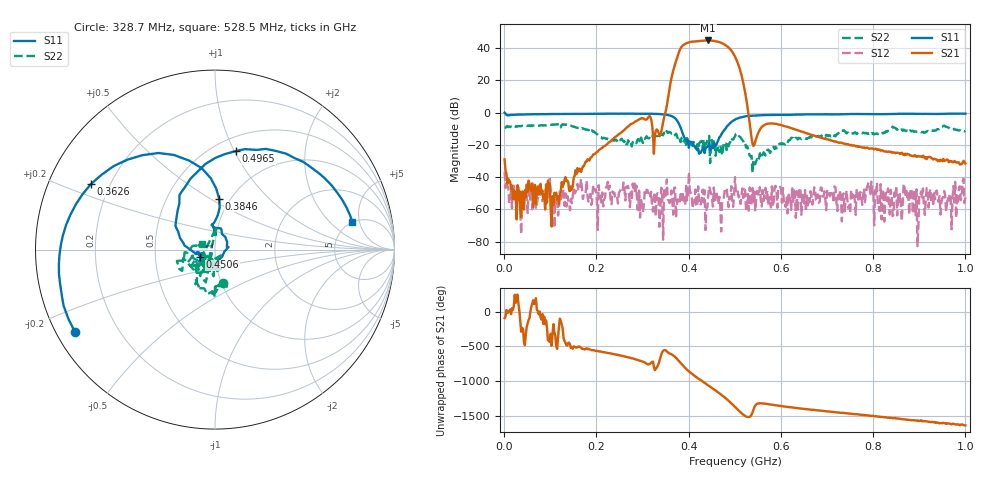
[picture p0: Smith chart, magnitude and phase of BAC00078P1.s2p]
!measured: 2026-10-27T14:58:42
!cal_instance: BBtestOct27
!cal_created: 2026-10-27T14:45
!cal_file: BBtesting.cal
!port1_delay_ps: -58.63
!port2_delay_ps: -59.31
!host: dhcp-10-250-247-203.harvard.edu
! Created with skrf 2.1.0 (http://scikit-rf.org).
# Hz S RI R 50.0
!freq ReS11 ImS11 ReS21 ImS21 ReS12 ImS12 ReS22 ImS22
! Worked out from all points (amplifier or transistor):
!   501 points, 1 MHz to 1 GHz, reference 50 ohm
!   highest |S21| = 44.7 dB at 442.6 MHz (marker M1)
!   |S21| within 3 dB of that: 387.9 MHz to 480.6 MHz (92.76 MHz wide, 21.4 % of centre)
!   unconditionally stable (mu >= 1): start of sweep to 399.9 MHz; 444.9 MHz to 500.2 MHz; 500.8 MHz to end of sweep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
!   at 166.8 MHz: K = 642.40, MAG = -28.9 dB, |S12| = -41.2 dB
!   at 500.5 MHz: K = 0.95, MSG = 37.3 dB, |S12| = -40.0 dB
!   at 1 GHz: K = 1125.55, MAG = -23.0 dB, |S12| = -52.6 dB
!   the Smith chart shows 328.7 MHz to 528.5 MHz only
!   S11 on the Smith chart (normalised r, x): 328.7 MHz: 0.05, -0.27; 362.6 MHz: 0.13, +0.24; 384.6 MHz: 0.89, +0.55; 450.6 MHz: 0.84, -0.07; 496.5 MHz: 0.63, +1.01; 528.5 MHz: 4.92, +3.90
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1000000  -0.3976 0.9103  -0.00115 -0.0352  0.0119 -0.00811  0.3362 -0.0279
1.68832e8  0.5059 -0.7527  -0.0174 -0.00155  0.00262 0.00352  -0.0186 -0.3248
3.28672e8  -0.7822 -0.4577  -0.0745 -0.2569  0.000583 0.000156  0.0424 -0.1838
3.34666e8  -0.8287 -0.353  0.2015 -0.1262  -0.00213 -0.00208  0.0651 -0.2069
3.62638e8  -0.691 0.3653  -3.279 11.1  -0.00373 -0.000887  -0.0608 -0.2157
3.74626e8  -0.2294 0.5275  36.8 31.53  -0.000689 0.00145  -0.1003 -0.1622
3.84616e8  0.0232 0.2843  90.66 -60.98  -0.00194 -2.95e-05  -0.1338 -0.0945
3.96604e8  -0.0177 0.1395  -62.87 -128.8  0.00173 -0.000772  -0.1115 -0.1183
4.04596e8  0.00119 0.1213  -147.3 -50.54  -0.000384 0.00323  -0.054 -0.1129
4.1059e8  0.0385 0.0872  -155.5 33.43  -0.00133 0.000876  -0.0486 -0.113
4.26574e8  0.0288 -0.0495  -7.775 165.9  -0.00142 -0.000419  -0.0598 -0.1154
4.42558e8  -0.0784 -0.0547  161 59.01  0.00214 -0.0018  -0.0845 -0.1422
4.5055e8  -0.0833 -0.0425  162.1 -49.05  0.00148 0.00178  -0.0349 -0.1347
4.64536e8  -0.1422 0.00314  15.87 -153.9  -8.42e-05 -0.00141  -0.00364 -0.0673
4.76524e8  -0.2159 0.1674  -109 -73.61  0.000147 -0.00237  0.0111 -0.119
4.88512e8  -0.0929 0.4383  -80.21 55.56  0.00202 -0.00128  -0.024 -0.1096
4.96504e8  0.1156 0.549  -6.355 68.6  0.000602 0.00103  -0.1162 -0.0878
5.005e8  0.232 0.5553  19.12 50.77  0.00953 0.00301  -0.1767 -0.0467
5.28472e8  0.7646 0.1552  0.2677 -1.18  -0.00224 -0.002  -0.0717 0.0335
6.68332e8  0.1039 -0.8725  0.1785 0.0873  0.00136 0.000361  0.044 -0.1649
8.34166e8  -0.5661 -0.6911  0.00653 -0.0612  -0.00141 0.000605  -0.1609 -0.2337
1e9  -0.8793 -0.2771  -0.0251 0.00811  0.00215 0.000932  -0.2245 -0.1543
